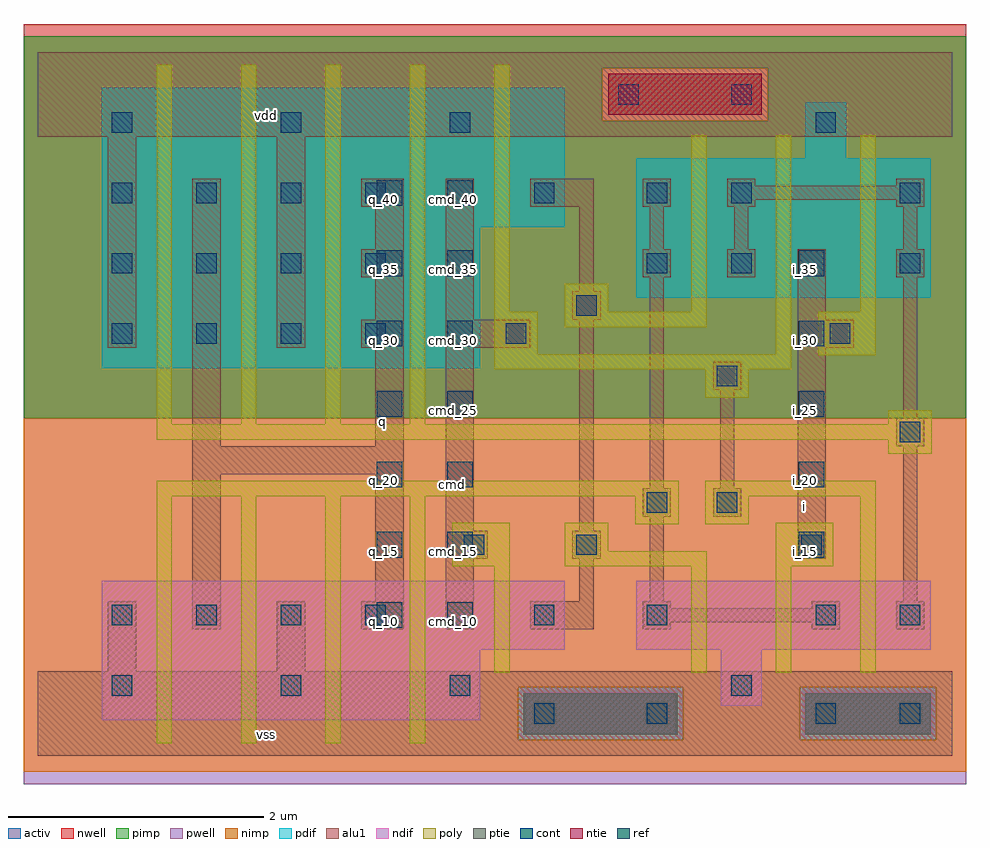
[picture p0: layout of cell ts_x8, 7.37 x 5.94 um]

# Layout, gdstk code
import gdstk
lib = gdstk.Library(unit=1e-6, precision=2.5e-09)
def R(c, l, rs):  # rectangles x0, y0, x1, y1
    for r in rs: c.add(gdstk.rectangle(r[:2], r[2:], *l))
def A(c, l, x, y, w, h, nx, ny, dx, dy):  # array of equal rectangles
    R(c, l, [(x+i*dx, y+j*dy, x+i*dx+w, y+j*dy+h) for i in range(nx) for j in range(ny)])
ndif = (3, 0)
pdif = (4, 0)
ntie = (5, 0)
ptie = (6, 0)
ref = (24, 0)
cont = (25, 0)
pwell = (41, 0)
nwell = (42, 0)
activ = (43, 0)
pimp = (44, 0)
nimp = (45, 0)
poly = (46, 0)
alu1 = (49, 0)

ts_x8 = lib.new_cell('ts_x8')
R(ts_x8, ndif, [(0.5,0.28,3.46,0.83), (0.5,0.28,3.46,0.83), (5.34,0.39,5.66,0.83), (5.34,0.39,5.66,0.83), (0.5,0.83,4.12,1.37), (0.5,0.83,4.12,1.37), (4.68,0.83,6.98,1.37), (4.68,0.83,6.98,1.37)])
R(ts_x8, pdif, [(0.5,3.03,3.46,4.13), (0.5,3.03,3.46,4.13), (4.68,3.58,6.98,4.67), (4.68,3.58,6.98,4.67), (0.5,4.13,4.12,5.22), (0.5,4.13,4.12,5.22), (6,4.67,6.32,5.11), (6,4.67,6.32,5.11)])
R(ts_x8, ntie, [(4.46,5.01,5.66,5.33), (4.46,5.01,5.66,5.33)])
R(ts_x8, ptie, [(3.8,0.17,5,0.49), (3.8,0.17,5,0.49), (6,0.17,6.98,0.49), (6,0.17,6.98,0.49)])
A(ts_x8, ref, 2.65, 1, 0.2, 0.2, 1, 7, 0, 0.55)
A(ts_x8, ref, 3.2, 1, 0.2, 0.2, 1, 7, 0, 0.55)
A(ts_x8, ref, 5.95, 1.55, 0.2, 0.2, 1, 5, 0, 0.55)
A(ts_x8, cont, 0.58, 0.47, 0.16, 0.16, 3, 2, 1.32, 4.4)
A(ts_x8, cont, 0.58, 1.02, 0.16, 0.16, 4, 2, 0.66, 2.2)
A(ts_x8, cont, 0.58, 3.77, 0.16, 0.16, 4, 2, 0.66, 0.55)
R(ts_x8, cont, [(3.88,0.25,4.04,0.41), (4.76,0.25,4.92,0.41), (6.08,0.25,6.24,0.41), (6.74,0.25,6.9,0.41), (5.42,0.47,5.58,0.63), (3.88,1.02,4.04,1.18), (4.76,1.02,4.92,1.18), (6.08,1.02,6.24,1.18), (6.74,1.02,6.9,1.18), (3.33,1.57,3.49,1.73), (4.21,1.57,4.37,1.73), (5.97,1.57,6.13,1.73), (4.76,1.9,4.92,2.06), (5.31,1.9,5.47,2.06), (6.74,2.45,6.9,2.61), (5.31,2.89,5.47,3.05), (3.66,3.22,3.82,3.38), (6.19,3.22,6.35,3.38), (4.21,3.44,4.37,3.6), (4.76,3.77,4.92,3.93), (5.42,3.77,5.58,3.93), (6.74,3.77,6.9,3.93), (3.88,4.32,4.04,4.48), (4.76,4.32,4.92,4.48), (5.42,4.32,5.58,4.48), (6.74,4.32,6.9,4.48), (6.08,4.87,6.24,5.03), (4.54,5.09,4.7,5.25), (5.42,5.09,5.58,5.25)])
R(ts_x8, pwell, [(-0.11,-0.22,7.26,2.64)])
R(ts_x8, nwell, [(-0.11,2.64,7.26,5.72)])
R(ts_x8, activ, [(3.8,0.17,5,0.49), (3.8,0.17,5,0.49), (6,0.17,6.98,0.49), (6,0.17,6.98,0.49), (0.5,0.28,3.46,0.83), (0.5,0.28,3.46,0.83), (5.34,0.39,5.66,0.83), (5.34,0.39,5.66,0.83), (0.5,0.83,4.12,1.37), (0.5,0.83,4.12,1.37), (4.68,0.83,6.98,1.37), (4.68,0.83,6.98,1.37), (0.5,3.03,3.46,4.13), (0.5,3.03,3.46,4.13), (4.68,3.58,6.98,4.67), (4.68,3.58,6.98,4.67), (0.5,4.13,4.12,5.22), (0.5,4.13,4.12,5.22), (6,4.67,6.32,5.11), (6,4.67,6.32,5.11), (4.46,5.01,5.66,5.33), (4.46,5.01,5.66,5.33)])
R(ts_x8, pimp, [(3.755,0.125,5.045,0.535), (5.955,0.125,7.025,0.535), (-0.11,2.64,7.26,4.965), (-0.11,4.965,4.415,5.375), (5.705,4.965,7.26,5.375), (-0.11,5.375,7.26,5.625)])
R(ts_x8, nimp, [(-0.11,-0.125,7.26,0.125), (-0.11,0.125,3.755,0.535), (5.045,0.125,5.955,0.535), (7.025,0.125,7.26,0.535), (-0.11,0.535,7.26,2.64), (4.415,4.965,5.705,5.375)])
A(ts_x8, poly, 0.93, 0.1, 0.12, 1.93, 4, 1, 0.66, 0)
A(ts_x8, poly, 0.93, 2.59, 0.12, 2.81, 4, 1, 0.66, 0)
R(ts_x8, poly, [(3.57,0.65,3.69,1.48), (5.11,0.65,5.23,1.48), (5.77,0.65,5.89,1.48), (6.43,0.65,6.55,2.03), (3.24,1.48,3.69,1.82), (4.12,1.48,5.23,1.6), (5.77,1.48,6.22,1.82), (4.12,1.6,4.46,1.82), (4.67,1.81,5.01,2.03), (5.22,1.81,5.56,2.03), (0.93,2.03,5.01,2.15), (5.22,2.03,6.55,2.15), (6.65,2.36,6.99,2.47), (0.93,2.47,6.99,2.59), (6.65,2.59,6.99,2.7), (5.22,2.8,5.56,3.02), (3.57,3.02,5.89,3.14), (6.1,3.13,6.55,3.47), (3.57,3.14,3.91,3.47), (5.77,3.14,5.89,4.85), (4.12,3.35,5.23,3.47), (3.57,3.47,3.69,5.4), (4.12,3.47,4.46,3.69), (5.11,3.47,5.23,4.85), (6.43,3.47,6.55,4.85)])
A(ts_x8, alu1, 2.53, 3.19, 0.33, 0.22, 1, 3, 0, 0.55)
R(ts_x8, alu1, [(0,0,7.15,0.66), (0.55,0.66,0.77,1.21), (1.87,0.66,2.09,1.21), (1.21,0.99,1.43,2.2), (2.53,0.99,2.86,1.21), (3.19,0.99,3.41,1.54), (3.85,0.99,4.345,1.21), (4.73,0.99,4.95,1.045), (6.05,0.99,6.27,1.045), (6.71,0.99,6.93,1.21), (4.73,1.045,6.27,1.155), (4.73,1.155,4.95,1.21), (6.05,1.155,6.27,1.21), (2.64,1.21,2.86,2.2), (4.235,1.21,4.345,1.54), (4.785,1.21,4.895,1.87), (6.765,1.21,6.875,2.42), (3.19,1.54,3.52,1.76), (4.18,1.54,4.4,1.76), (5.94,1.54,6.16,3.19), (3.19,1.76,3.41,3.19), (4.235,1.76,4.345,3.41), (4.73,1.87,4.95,2.09), (5.28,1.87,5.5,2.09), (4.785,2.09,4.895,3.74), (5.335,2.09,5.445,2.86), (1.21,2.2,2.86,2.42), (1.21,2.42,1.43,4.51), (2.64,2.42,2.86,3.19), (6.71,2.42,6.93,2.64), (6.765,2.64,6.875,3.74), (5.28,2.86,5.5,3.08), (0.55,3.19,0.77,4.84), (1.87,3.19,2.09,4.84), (3.19,3.19,3.85,3.41), (5.94,3.19,6.38,3.41), (2.64,3.41,2.86,3.74), (3.19,3.41,3.41,4.51), (4.18,3.41,4.4,3.63), (5.94,3.41,6.16,3.96), (4.235,3.63,4.345,4.29), (4.73,3.74,4.95,3.96), (5.39,3.74,5.61,3.96), (6.71,3.74,6.93,3.96), (2.64,3.96,2.86,4.29), (4.785,3.96,4.895,4.29), (5.445,3.96,5.555,4.29), (6.765,3.96,6.875,4.29), (3.85,4.29,4.345,4.51), (4.73,4.29,4.95,4.51), (5.39,4.29,5.61,4.345), (6.71,4.29,6.93,4.345), (5.39,4.345,6.93,4.455), (5.39,4.455,5.61,4.51), (6.71,4.455,6.93,4.51), (0,4.84,7.15,5.5)])
ts_x8.add(gdstk.Label('vss', (1.7875,0.165), layer=49, texttype=0))
ts_x8.add(gdstk.Label('i', (5.995,1.9525), layer=49, texttype=0))
ts_x8.add(gdstk.Label('cmd', (3.245,2.1175), layer=49, texttype=0))
ts_x8.add(gdstk.Label('q', (2.695,2.6125), layer=49, texttype=0))
ts_x8.add(gdstk.Label('vdd', (1.7875,5.005), layer=49, texttype=0))
ts_x8.add(gdstk.Label('q_20', (2.7,2.15), layer=24, texttype=0))
ts_x8.add(gdstk.Label('q_15', (2.7,1.6), layer=24, texttype=0))
ts_x8.add(gdstk.Label('q_10', (2.7,1.05), layer=24, texttype=0))
ts_x8.add(gdstk.Label('i_35', (6,3.8), layer=24, texttype=0))
ts_x8.add(gdstk.Label('i_30', (6,3.25), layer=24, texttype=0))
ts_x8.add(gdstk.Label('i_25', (6,2.7), layer=24, texttype=0))
ts_x8.add(gdstk.Label('i_20', (6,2.15), layer=24, texttype=0))
ts_x8.add(gdstk.Label('q_40', (2.7,4.35), layer=24, texttype=0))
ts_x8.add(gdstk.Label('q_35', (2.7,3.8), layer=24, texttype=0))
ts_x8.add(gdstk.Label('q_30', (2.7,3.25), layer=24, texttype=0))
ts_x8.add(gdstk.Label('q_25', (2.7,2.7), layer=24, texttype=0))
ts_x8.add(gdstk.Label('cmd_25', (3.25,2.7), layer=24, texttype=0))
ts_x8.add(gdstk.Label('cmd_20', (3.25,2.15), layer=24, texttype=0))
ts_x8.add(gdstk.Label('cmd_15', (3.25,1.6), layer=24, texttype=0))
ts_x8.add(gdstk.Label('cmd_40', (3.25,4.35), layer=24, texttype=0))
ts_x8.add(gdstk.Label('cmd_35', (3.25,3.8), layer=24, texttype=0))
ts_x8.add(gdstk.Label('cmd_30', (3.25,3.25), layer=24, texttype=0))
ts_x8.add(gdstk.Label('cmd_10', (3.25,1.05), layer=24, texttype=0))
ts_x8.add(gdstk.Label('i_15', (6,1.6), layer=24, texttype=0))

lib.write_gds('ts_x8.gds')
